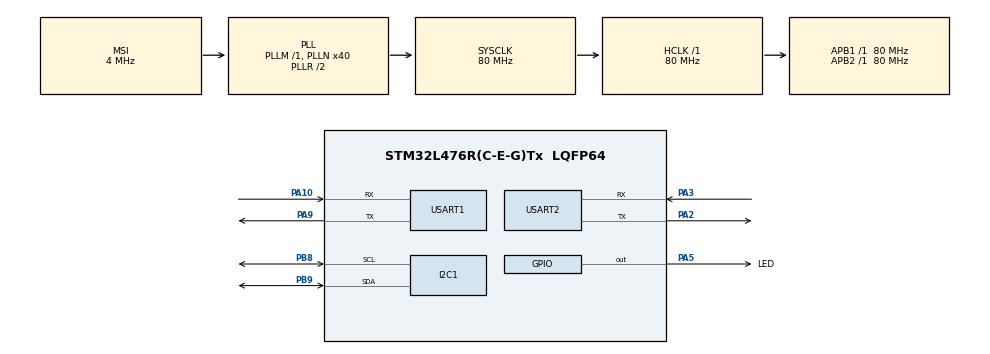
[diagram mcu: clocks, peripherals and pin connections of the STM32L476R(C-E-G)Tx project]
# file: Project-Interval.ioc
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I2C1.Timing=0x10909CEC
IWDG.Prescaler=IWDG_PRESCALER_32
IWDG.Reload=4000
IWDG.Window=4000
Mcu.Family=STM32L4
Mcu.Name=STM32L476R(C-E-G)Tx
Mcu.Package=LQFP64
NVIC.PriorityGroup=NVIC_PRIORITYGROUP_4
NVIC.RTC_WKUP_IRQn=true\:0\:0\:false\:false\:true\:true\:true\:true
NVIC.USART1_IRQn=true\:0\:0\:false\:false\:true\:true\:true\:true
NVIC.USART2_IRQn=true\:0\:0\:false\:false\:true\:true\:true\:true
PA10.Mode=Asynchronous
PA10.Signal=USART1_RX
PA13\ (JTMS-SWDIO).Mode=Serial_Wire
PA13\ (JTMS-SWDIO).Signal=SYS_JTMS-SWDIO
PA14\ (JTCK-SWCLK).Mode=Serial_Wire
PA14\ (JTCK-SWCLK).Signal=SYS_JTCK-SWCLK
PA2.Mode=Asynchronous
PA2.Signal=USART2_TX
PA3.Mode=Asynchronous
PA3.Signal=USART2_RX
PA5.GPIO_Label=LED
PA5.Signal=GPIO_Output
PA9.Mode=Asynchronous
PA9.Signal=USART1_TX
PB8.Mode=I2C
PB8.Signal=I2C1_SCL
PB9.Mode=I2C
PB9.Signal=I2C1_SDA
PC14-OSC32_IN\ (PC14).Mode=LSE-External-Oscillator
PC14-OSC32_IN\ (PC14).Signal=RCC_OSC32_IN
PC15-OSC32_OUT\ (PC15).Mode=LSE-External-Oscillator
PC15-OSC32_OUT\ (PC15).Signal=RCC_OSC32_OUT
ProjectManager.HeapSize=0x200
ProjectManager.StackSize=0x400
ProjectManager.TargetToolchain=STM32CubeIDE
RCC.AHBFreq_Value=80000000
RCC.APB1Freq_Value=80000000
RCC.APB1TimFreq_Value=80000000
RCC.APB2Freq_Value=80000000
RCC.APB2TimFreq_Value=80000000
RCC.CortexFreq_Value=80000000
RCC.HCLKFreq_Value=80000000
RCC.HSE_VALUE=8000000
RCC.HSI_VALUE=16000000
RCC.MSI_VALUE=4000000
RCC.PLLN=40
RCC.RTCClockSelection=RCC_RTCCLKSOURCE_LSE
RCC.SYSCLKFreq_VALUE=80000000
RCC.SYSCLKSource=RCC_SYSCLKSOURCE_PLLCLK
RCC.VCOOutputFreq_Value=160000000
RTC.WakeUpClock-WakeUp=RTC_WAKEUPCLOCK_RTCCLK_DIV16
RTC.WakeUpCounter-WakeUp=10
USART1.VirtualMode-Asynchronous=VM_ASYNC
USART2.VirtualMode-Asynchronous=VM_ASYNC
VP_IWDG_VS_IWDG.Mode=IWDG_Activate
VP_RTC_VS_RTC_Activate.Mode=RTC_Enabled
VP_RTC_VS_RTC_WakeUp_intern.Mode=WakeUp
board=custom

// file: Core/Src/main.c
/* USER CODE BEGIN Header */
/**
  ******************************************************************************
  * @file           : main.c
  * @brief          : Main program body
  ******************************************************************************
  * @attention
  *
  * Copyright (c) 2024 STMicroelectronics.
  * All rights reserved.
  *
  * This software is licensed under terms that can be found in the LICENSE file
  * in the root directory of this software component.
  * If no LICENSE file comes with this software, it is provided AS-IS.
  *
  ******************************************************************************
  */
/* USER CODE END Header */
#include "main.h"

/* USER CODE BEGIN Includes */

#include <stdio.h>
#include <string.h>
#include <stdbool.h>
#include "bmp280.h"
#include <math.h>
/* USER CODE END Includes */

/* USER CODE BEGIN PD */

#define code "8Tar"
/* USER CODE END PD */

I2C_HandleTypeDef hi2c1;

IWDG_HandleTypeDef hiwdg;

RTC_HandleTypeDef hrtc;

UART_HandleTypeDef huart1;
UART_HandleTypeDef huart2;

void SystemClock_Config(void);
static void MX_GPIO_Init(void);
static void MX_RTC_Init(void);
static void MX_USART2_UART_Init(void);
static void MX_I2C1_Init(void);
static void MX_USART1_UART_Init(void);
static void MX_IWDG_Init(void);

/* USER CODE BEGIN 0 */
//SIM800l
uint8_t Rx_bit;
char Rx_placeholder[10];
char Rx_data[100] = "";
char Locs[50] = "";
char Num[50] = "";
int pos = 0;
int msg = 0;
uint32_t tm = 0;
bool completed = false;
bool read = false;

//BMP

BMP280_HandleTypedef bmp280;

float altitude ,pressure, p, temperature, humidity;
//AHT20
float temp;
float humi;
//commands
char Tx_data[15][200] = {"AT\r",
    "AT+SAPBR=3,1,Contype,\"GPRS\"\r",
    "AT+SAPBR=3,1,APN,\"internet\"\r",
    "AT+SAPBR=1,1\r",
    "AT+CLBS=1,1\r",
    "AT+CNUM\r",
    "AT+HTTPINIT\r",
    "AT+HTTPPARA=CID,\"1\"\r",
    "AT+HTTPSSL=0\r",
    "AT+HTTPPARA=URL,\"http://185.201.114.232:5000/NewData?num=123456789\"\r",
    "AT+HTTPACTION=1\r",
    "AT+HTTPTERM\r",
    "AT+SAPBR=0,1\r"
};
int __io_putchar(int ch)
{
  if (ch == '\n') {
    uint8_t ch2 = '\r';
    HAL_UART_Transmit(&huart2, &ch2, 1, HAL_MAX_DELAY);
  }
  HAL_UART_Transmit(&huart2, (uint8_t*)&ch, 1, HAL_MAX_DELAY);
  return 1;
}

void HAL_UART_RxCpltCallback(UART_HandleTypeDef *huart)
{
  //Sim800l repeats the command of the user so this line skips it
  if(read == false && Rx_bit == '\n') read = true;
  else if(read == true){
    Rx_data[pos++] = Rx_bit;
    if(Rx_bit == '\n'){
      HAL_UART_Transmit(&huart2, (uint8_t *)Rx_data, pos, 1000);
      //Read latitude and longitude
      if(msg == 4 && Rx_data[0] == '+'){
	HAL_UART_Receive(&huart1, (uint8_t*)Rx_placeholder, 6, 1000);
	printf("Komunikacja udana - LOCS: \n");
	strcpy(Locs,Rx_data);
	pos = 0;
      }
      //read number
      else if(msg == 5 && Rx_data[0] == '+'){
	HAL_UART_Receive(&huart1, (uint8_t*)Rx_placeholder, 6, 1000);
	printf("Komunikacja udana - tel_num\n");
	strcpy(Num,Rx_data);
	pos = 0;
      }
      //This line makes program wait for http response
      if(msg == 10 && ((Rx_data[0] == 'O' && Rx_data[1] == 'K') || Rx_data[0] == '\r')) {
	  pos = 0;
      }
      //Here it writes next functions, and sets the post url
      else{
	printf("Komunikacja udana %d: \n",msg);
	pos = 0; read = false; msg++;
	if(msg == 9){
	  float latitude = 0.0, longitude = 0.0;
	  char *numberStart = strstr(Num,"\"+");
	  char *numberEnd = strstr(numberStart + 2,"\"");
	  size_t len = numberEnd - numberStart;
	  char num[len + 1];
	  strncpy(num, numberStart, len);
	  num[len] = '\0';
	  strcpy(num, &num[4]);
	  sscanf(Locs, "+CLBS: 0,%f,%f,", &longitude, &latitude);
	  sprintf(Tx_data[msg], "AT+HTTPPARA=URL,\"http://185.201.114.232:5000/NewData?num=%s&latitude=%.6f&longitude=%.6f&temp=%.2f&humi=%.2f&press=%.2f&code=%s\"\r",num,latitude,longitude,temp-2,humi,pressure,code);
	}
	if(msg < 13)
	HAL_UART_Transmit_IT(&huart1, (uint8_t *)Tx_data[msg], strlen(Tx_data[msg]));
	else completed = true;

      }
    }
  }
  //keep receving data
  HAL_UART_Receive_IT(&huart1, &Rx_bit, 1);
  HAL_IWDG_Refresh(&hiwdg);

}

void HAL_UART_TxCpltCallback(UART_HandleTypeDef *huart)
{

}

/* USER CODE END 0 */

int main(void)
{

  /* MCU Configuration--------------------------------------------------------*/

  /* Reset of all peripherals, Initializes the Flash interface and the Systick. */
  HAL_Init();

  /* Configure the system clock */
  SystemClock_Config();

  /* Initialize all configured peripherals */
  MX_GPIO_Init();
  MX_RTC_Init();
  MX_USART2_UART_Init();
  MX_I2C1_Init();
  MX_USART1_UART_Init();
  MX_IWDG_Init();
  /* USER CODE BEGIN 2 */

  const uint16_t addr = 0b0111000; //0x38
  const int addr_wr = addr<<1;
  const int addr_rc = addr_wr + 1;
  uint32_t temp_data;
  uint8_t init[3] = {0xbe, 0x08, 0x00};
  uint8_t measure[3] = {0xac, 0x33, 0x00};
  uint8_t data[6];
  uint32_t time_stamp = HAL_GetTick();
  HAL_IWDG_Refresh(&hiwdg);
  HAL_I2C_Master_Receive(&hi2c1, addr_rc, (uint8_t *)data, 6, 1000);
  if((data[0] >> 3 & 1) != 1){
    printf("Kalibracja\n");
    HAL_I2C_Master_Transmit(&hi2c1, addr_wr, (uint8_t *)init, 3, 1000);
  }
  time_stamp = HAL_GetTick();
  while(HAL_GetTick() - time_stamp < 10) ;
  HAL_I2C_Master_Transmit(&hi2c1, addr_wr, (uint8_t *)measure, 3, 1000);
  time_stamp = HAL_GetTick();
  while(HAL_GetTick() - time_stamp < 85) ;
  HAL_I2C_Master_Receive(&hi2c1, addr_rc, (uint8_t *)data, 6, 1000);
  //AHT20 COMM FINISHED
  HAL_IWDG_Refresh(&hiwdg);
  //check control byte and calculate values
  if(((data[0] >> 7) & 1) == 0) {
    printf("Komunikacja udana \n");
    temp_data = ((uint32_t)data[3] << 16) + ((uint32_t)data[4] << 8) + (uint32_t)data[5];
    temp_data = temp_data & (~(0xFFF00000));
    temp = ((float)temp_data/1048576) * 200 - 50;
    temp_data = ((uint32_t)data[1] << 16) + ((uint32_t)data[2] << 8) + (uint32_t)data[3];
    temp_data = temp_data >> 4;
    humi = ((float)temp_data/1048576) * 100;
  }
  else
  {
    printf("Komunikacja nie udana\n");
  }
  printf("Temperatura wynosi %f *C\n", temp);
  printf("Wilgotnosc  wynosi %f %%\n", humi);
  HAL_IWDG_Refresh(&hiwdg);

  bmp280_init_default_params(&bmp280.params);
  bmp280.addr = BMP280_I2C_ADDRESS_1;
  bmp280.i2c = &hi2c1;
  while (!(bmp280_init(&bmp280, &bmp280.params)))
  {
	time_stamp = HAL_GetTick();
	while(HAL_GetTick() - time_stamp < 2000) ;
  }

  HAL_IWDG_Refresh(&hiwdg);
  bool bme280p = bmp280.id == BMP280_CHIP_ID;
  time_stamp = HAL_GetTick();
  while(HAL_GetTick() - time_stamp < 100) ;
  while (!bmp280_read_float(&bmp280, &temperature, &pressure, &humidity)) {
	  time_stamp = HAL_GetTick();
	  while(HAL_GetTick() - time_stamp < 2000) ;
  }

  HAL_IWDG_Refresh(&hiwdg);
  p = pressure/100;
  altitude = 44330.0*(1-pow(p/1013.25, 1/5.255));

  time_stamp = HAL_GetTick();
  while(HAL_GetTick() - time_stamp < 500) ;

  HAL_IWDG_Refresh(&hiwdg);

  HAL_UART_Receive_IT(&huart1, &Rx_bit, 1);
  HAL_UART_Transmit_IT(&huart1, (uint8_t *)Tx_data[msg], strlen(Tx_data[msg]));
  HAL_GPIO_WritePin(LED_GPIO_Port, LED_Pin, GPIO_PIN_SET);
  while(!completed);

  printf("Going to sleep\n");
  HAL_PWR_EnterSTANDBYMode();
  /* USER CODE END 2 */

  /* Infinite loop */
  while (1)
  {

  }
}

void SystemClock_Config(void)
{
  RCC_OscInitTypeDef RCC_OscInitStruct = {0};
  RCC_ClkInitTypeDef RCC_ClkInitStruct = {0};

  /** Configure the main internal regulator output voltage
  */
  if (HAL_PWREx_ControlVoltageScaling(PWR_REGULATOR_VOLTAGE_SCALE1) != HAL_OK)
  {
    Error_Handler();
  }

  /** Configure LSE Drive Capability
  */
  HAL_PWR_EnableBkUpAccess();
  __HAL_RCC_LSEDRIVE_CONFIG(RCC_LSEDRIVE_LOW);

  /** Initializes the RCC Oscillators according to the specified parameters
  * in the RCC_OscInitTypeDef structure.
  */
  RCC_OscInitStruct.OscillatorType = RCC_OSCILLATORTYPE_LSI|RCC_OSCILLATORTYPE_LSE
                              |RCC_OSCILLATORTYPE_MSI;
  RCC_OscInitStruct.LSEState = RCC_LSE_ON;
  RCC_OscInitStruct.LSIState = RCC_LSI_ON;
  RCC_OscInitStruct.MSIState = RCC_MSI_ON;
  RCC_OscInitStruct.MSICalibrationValue = 0;
  RCC_OscInitStruct.MSIClockRange = RCC_MSIRANGE_6;
  RCC_OscInitStruct.PLL.PLLState = RCC_PLL_ON;
  RCC_OscInitStruct.PLL.PLLSource = RCC_PLLSOURCE_MSI;
  RCC_OscInitStruct.PLL.PLLM = 1;
  RCC_OscInitStruct.PLL.PLLN = 40;
  RCC_OscInitStruct.PLL.PLLP = RCC_PLLP_DIV7;
  RCC_OscInitStruct.PLL.PLLQ = RCC_PLLQ_DIV2;
  RCC_OscInitStruct.PLL.PLLR = RCC_PLLR_DIV2;
  if (HAL_RCC_OscConfig(&RCC_OscInitStruct) != HAL_OK)
  {
    Error_Handler();
  }

  /** Initializes the CPU, AHB and APB buses clocks
  */
  RCC_ClkInitStruct.ClockType = RCC_CLOCKTYPE_HCLK|RCC_CLOCKTYPE_SYSCLK
                              |RCC_CLOCKTYPE_PCLK1|RCC_CLOCKTYPE_PCLK2;
  RCC_ClkInitStruct.SYSCLKSource = RCC_SYSCLKSOURCE_PLLCLK;
  RCC_ClkInitStruct.AHBCLKDivider = RCC_SYSCLK_DIV1;
  RCC_ClkInitStruct.APB1CLKDivider = RCC_HCLK_DIV1;
  RCC_ClkInitStruct.APB2CLKDivider = RCC_HCLK_DIV1;

  if (HAL_RCC_ClockConfig(&RCC_ClkInitStruct, FLASH_LATENCY_4) != HAL_OK)
  {
    Error_Handler();
  }

  /** Enable MSI Auto calibration
  */
  HAL_RCCEx_EnableMSIPLLMode();
}

static void MX_I2C1_Init(void)
{

  hi2c1.Instance = I2C1;
  hi2c1.Init.Timing = 0x10909CEC;
  hi2c1.Init.OwnAddress1 = 0;
  hi2c1.Init.AddressingMode = I2C_ADDRESSINGMODE_7BIT;
  hi2c1.Init.DualAddressMode = I2C_DUALADDRESS_DISABLE;
  hi2c1.Init.OwnAddress2 = 0;
  hi2c1.Init.OwnAddress2Masks = I2C_OA2_NOMASK;
  hi2c1.Init.GeneralCallMode = I2C_GENERALCALL_DISABLE;
  hi2c1.Init.NoStretchMode = I2C_NOSTRETCH_DISABLE;
  if (HAL_I2C_Init(&hi2c1) != HAL_OK)
  {
    Error_Handler();
  }

  /** Configure Analogue filter
  */
  if (HAL_I2CEx_ConfigAnalogFilter(&hi2c1, I2C_ANALOGFILTER_ENABLE) != HAL_OK)
  {
    Error_Handler();
  }

  /** Configure Digital filter
  */
  if (HAL_I2CEx_ConfigDigitalFilter(&hi2c1, 0) != HAL_OK)
  {
    Error_Handler();
  }

}

static void MX_IWDG_Init(void)
{

  hiwdg.Instance = IWDG;
  hiwdg.Init.Prescaler = IWDG_PRESCALER_32;
  hiwdg.Init.Window = 4000;
  hiwdg.Init.Reload = 4000;
  if (HAL_IWDG_Init(&hiwdg) != HAL_OK)
  {
    Error_Handler();
  }

}

static void MX_RTC_Init(void)
{

  /** Initialize RTC Only
  */
  hrtc.Instance = RTC;
  hrtc.Init.HourFormat = RTC_HOURFORMAT_24;
  hrtc.Init.AsynchPrediv = 127;
  hrtc.Init.SynchPrediv = 255;
  hrtc.Init.OutPut = RTC_OUTPUT_DISABLE;
  hrtc.Init.OutPutRemap = RTC_OUTPUT_REMAP_NONE;
  hrtc.Init.OutPutPolarity = RTC_OUTPUT_POLARITY_HIGH;
  hrtc.Init.OutPutType = RTC_OUTPUT_TYPE_OPENDRAIN;
  if (HAL_RTC_Init(&hrtc) != HAL_OK)
  {
    Error_Handler();
  }
  /* USER CODE BEGIN RTC_Init 2 */
  if (HAL_RTCEx_SetWakeUpTimer_IT(&hrtc, 30, RTC_WAKEUPCLOCK_CK_SPRE_16BITS) != HAL_OK)
  {
    Error_Handler();
  }
  /* USER CODE END RTC_Init 2 */

}

static void MX_USART1_UART_Init(void)
{

  huart1.Instance = USART1;
  huart1.Init.BaudRate = 115200;
  huart1.Init.WordLength = UART_WORDLENGTH_8B;
  huart1.Init.StopBits = UART_STOPBITS_1;
  huart1.Init.Parity = UART_PARITY_NONE;
  huart1.Init.Mode = UART_MODE_TX_RX;
  huart1.Init.HwFlowCtl = UART_HWCONTROL_NONE;
  huart1.Init.OverSampling = UART_OVERSAMPLING_16;
  huart1.Init.OneBitSampling = UART_ONE_BIT_SAMPLE_DISABLE;
  huart1.AdvancedInit.AdvFeatureInit = UART_ADVFEATURE_NO_INIT;
  if (HAL_UART_Init(&huart1) != HAL_OK)
  {
    Error_Handler();
  }

}

static void MX_USART2_UART_Init(void)
{

  huart2.Instance = USART2;
  huart2.Init.BaudRate = 115200;
  huart2.Init.WordLength = UART_WORDLENGTH_8B;
  huart2.Init.StopBits = UART_STOPBITS_1;
  huart2.Init.Parity = UART_PARITY_NONE;
  huart2.Init.Mode = UART_MODE_TX_RX;
  huart2.Init.HwFlowCtl = UART_HWCONTROL_NONE;
  huart2.Init.OverSampling = UART_OVERSAMPLING_16;
  huart2.Init.OneBitSampling = UART_ONE_BIT_SAMPLE_DISABLE;
  huart2.AdvancedInit.AdvFeatureInit = UART_ADVFEATURE_NO_INIT;
  if (HAL_UART_Init(&huart2) != HAL_OK)
  {
    Error_Handler();
  }

}

static void MX_GPIO_Init(void)
{
  GPIO_InitTypeDef GPIO_InitStruct = {0};

  /* GPIO Ports Clock Enable */
  __HAL_RCC_GPIOC_CLK_ENABLE();
  __HAL_RCC_GPIOA_CLK_ENABLE();
  __HAL_RCC_GPIOB_CLK_ENABLE();

  /*Configure GPIO pin Output Level */
  HAL_GPIO_WritePin(LED_GPIO_Port, LED_Pin, GPIO_PIN_RESET);

  /*Configure GPIO pin : LED_Pin */
  GPIO_InitStruct.Pin = LED_Pin;
  GPIO_InitStruct.Mode = GPIO_MODE_OUTPUT_PP;
  GPIO_InitStruct.Pull = GPIO_NOPULL;
  GPIO_InitStruct.Speed = GPIO_SPEED_FREQ_LOW;
  HAL_GPIO_Init(LED_GPIO_Port, &GPIO_InitStruct);

}

void Error_Handler(void)
{
  __disable_irq();
  while (1)
  {
  }
}
